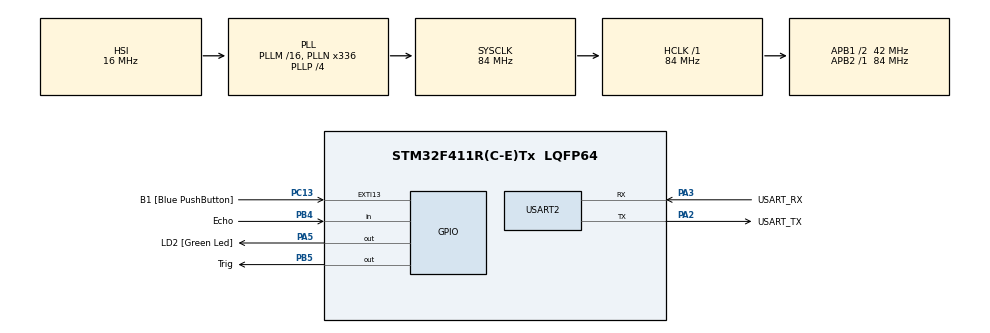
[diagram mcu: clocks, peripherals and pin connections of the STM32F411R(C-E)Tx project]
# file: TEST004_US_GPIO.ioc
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Mcu.Family=STM32F4
Mcu.Name=STM32F411R(C-E)Tx
Mcu.Package=LQFP64
NVIC.PriorityGroup=NVIC_PRIORITYGROUP_0
PA13.GPIO_Label=TMS
PA13.Mode=Serial_Wire
PA13.Signal=SYS_JTMS-SWDIO
PA14.GPIO_Label=TCK
PA14.Mode=Serial_Wire
PA14.Signal=SYS_JTCK-SWCLK
PA2.GPIO_Label=USART_TX
PA2.Mode=Asynchronous
PA2.Signal=USART2_TX
PA3.GPIO_Label=USART_RX
PA3.Mode=Asynchronous
PA3.Signal=USART2_RX
PA5.GPIO_Label=LD2 [Green Led]
PA5.Signal=GPIO_Output
PB3.GPIO_Label=SWO
PB3.Signal=SYS_JTDO-SWO
PB4.GPIO_Label=Echo
PB4.Signal=GPIO_Input
PB5.GPIO_Label=Trig
PB5.Signal=GPIO_Output
PC13-ANTI_TAMP.GPIO_Label=B1 [Blue PushButton]
PC13-ANTI_TAMP.GPIO_ModeDefaultEXTI=GPIO_MODE_IT_FALLING
PC13-ANTI_TAMP.Signal=GPXTI13
PC14-OSC32_IN.Mode=LSE-External-Oscillator
PC14-OSC32_IN.Signal=RCC_OSC32_IN
PC15-OSC32_OUT.Mode=LSE-External-Oscillator
PC15-OSC32_OUT.Signal=RCC_OSC32_OUT
PH0\ -\ OSC_IN.Mode=HSE-External-Clock-Source
PH0\ -\ OSC_IN.Signal=RCC_OSC_IN
PH1\ -\ OSC_OUT.Mode=HSE-External-Clock-Source
PH1\ -\ OSC_OUT.Signal=RCC_OSC_OUT
ProjectManager.HeapSize=0x200
ProjectManager.StackSize=0x400
ProjectManager.TargetToolchain=STM32CubeIDE
RCC.48MHZClocksFreq_Value=84000000
RCC.AHBFreq_Value=84000000
RCC.APB1CLKDivider=RCC_HCLK_DIV2
RCC.APB1Freq_Value=42000000
RCC.APB1TimFreq_Value=84000000
RCC.APB2Freq_Value=84000000
RCC.APB2TimFreq_Value=84000000
RCC.CortexFreq_Value=84000000
RCC.FLatency-AdvancedSettings=FLASH_LATENCY_2
RCC.HCLKFreq_Value=84000000
RCC.HSE_VALUE=8000000
RCC.HSI_VALUE=16000000
RCC.PLLN=336
RCC.PLLP=RCC_PLLP_DIV4
RCC.SYSCLKFreq_VALUE=84000000
RCC.SYSCLKSource=RCC_SYSCLKSOURCE_PLLCLK
RCC.VCOOutputFreq_Value=336000000
TIM5.Prescaler=84-1
USART2.VirtualMode=VM_ASYNC
VP_TIM5_VS_ClockSourceINT.Mode=Internal
board=NUCLEO-F411RE

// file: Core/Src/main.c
/* USER CODE BEGIN Header */
/**
  ******************************************************************************
  * @file           : main.c
  * @brief          : Main program body
  ******************************************************************************
  * @attention
  *
  * Copyright (c) 2024 STMicroelectronics.
  * All rights reserved.
  *
  * This software is licensed under terms that can be found in the LICENSE file
  * in the root directory of this software component.
  * If no LICENSE file comes with this software, it is provided AS-IS.
  *
  ******************************************************************************
  */
/* USER CODE END Header */
#include "main.h"

TIM_HandleTypeDef htim5;

UART_HandleTypeDef huart2;

void SystemClock_Config(void);
static void MX_GPIO_Init(void);
static void MX_USART2_UART_Init(void);
static void MX_TIM5_Init(void);

/* USER CODE BEGIN 0 */
void microDelay(int us)
{
	//int t1 = htim5.Instance->CNT; //CNT = 1us
	/*while(1)
	{
		int tmp_us = htim5.Instance->CNT - t1; // elapsed time
		if(tmp_us > us) break;
	}*/
	/*while(1)
	{
		if((htim5.Instance->CNT - t1) < us);
	}*/
	htim5.Instance -> CNT = 0;
	while(htim5.Instance -> CNT  < us);

}

void Trigger()
{
	//Trigger Signal
	HAL_GPIO_WritePin(Trig_GPIO_Port, Trig_Pin, 1);
	microDelay(10); //Can't make 10us HAL_Delay
	HAL_GPIO_WritePin(Trig_GPIO_Port, Trig_Pin, 0);
	microDelay(20);
}

double Distance()
{
	Trigger();
	//Wait until Echo Rising Edge
	while(HAL_GPIO_ReadPin(Echo_GPIO_Port, Echo_Pin) != 1);
	int t1 = htim5.Instance->CNT;
	//Wait until Echo Falling Edge
	while(HAL_GPIO_ReadPin(Echo_GPIO_Port, Echo_Pin) != 0);
	int t2 = htim5.Instance->CNT;
	double dist = (t2 - t1) * (0.000170); // meter

	return dist;
}

/* USER CODE END 0 */

int main(void)
{

  /* MCU Configuration--------------------------------------------------------*/

  /* Reset of all peripherals, Initializes the Flash interface and the Systick. */
  HAL_Init();

  /* Configure the system clock */
  SystemClock_Config();

  /* Initialize all configured peripherals */
  MX_GPIO_Init();
  MX_USART2_UART_Init();
  MX_TIM5_Init();
  /* USER CODE BEGIN 2 */
  ProgramStart("UltraSonic_GPIO");
  HAL_TIM_Base_Start(&htim5); //Timer Start -> (address handle timer5)
  /* USER CODE END 2 */

  /* Infinite loop */
  /* USER CODE BEGIN WHILE */
  while (1)
  {

	  //Trigger Signal
	  /*HAL_GPIO_WritePin(Trig_GPIO_Port, Trig_Pin, 1);
	  microDelay(10); //Can't make 10us HAL_Delay
	  HAL_GPIO_WritePin(Trig_GPIO_Port, Trig_Pin, 0);
	  microDelay(20);*/
    /* USER CODE END WHILE */

    /* USER CODE BEGIN 3 */
	  //Wait until Echo Rising Edge
	  double d = Distance() * 100;
	  printf("\033[?251\n"); //cursor off
	  printf("\033[10;10HDistance : %.2f cm   ", d); //upper half
	  printf("\033[11;10HDistance : %.2f cm   \033[9;10H\n", d); //lower half
	  HAL_Delay(100);
  }
  /* USER CODE END 3 */
}

void SystemClock_Config(void)
{
  RCC_OscInitTypeDef RCC_OscInitStruct = {0};
  RCC_ClkInitTypeDef RCC_ClkInitStruct = {0};

  /** Configure the main internal regulator output voltage
  */
  __HAL_RCC_PWR_CLK_ENABLE();
  __HAL_PWR_VOLTAGESCALING_CONFIG(PWR_REGULATOR_VOLTAGE_SCALE1);

  /** Initializes the RCC Oscillators according to the specified parameters
  * in the RCC_OscInitTypeDef structure.
  */
  RCC_OscInitStruct.OscillatorType = RCC_OSCILLATORTYPE_HSI;
  RCC_OscInitStruct.HSIState = RCC_HSI_ON;
  RCC_OscInitStruct.HSICalibrationValue = RCC_HSICALIBRATION_DEFAULT;
  RCC_OscInitStruct.PLL.PLLState = RCC_PLL_ON;
  RCC_OscInitStruct.PLL.PLLSource = RCC_PLLSOURCE_HSI;
  RCC_OscInitStruct.PLL.PLLM = 16;
  RCC_OscInitStruct.PLL.PLLN = 336;
  RCC_OscInitStruct.PLL.PLLP = RCC_PLLP_DIV4;
  RCC_OscInitStruct.PLL.PLLQ = 4;
  if (HAL_RCC_OscConfig(&RCC_OscInitStruct) != HAL_OK)
  {
    Error_Handler();
  }

  /** Initializes the CPU, AHB and APB buses clocks
  */
  RCC_ClkInitStruct.ClockType = RCC_CLOCKTYPE_HCLK|RCC_CLOCKTYPE_SYSCLK
                              |RCC_CLOCKTYPE_PCLK1|RCC_CLOCKTYPE_PCLK2;
  RCC_ClkInitStruct.SYSCLKSource = RCC_SYSCLKSOURCE_PLLCLK;
  RCC_ClkInitStruct.AHBCLKDivider = RCC_SYSCLK_DIV1;
  RCC_ClkInitStruct.APB1CLKDivider = RCC_HCLK_DIV2;
  RCC_ClkInitStruct.APB2CLKDivider = RCC_HCLK_DIV1;

  if (HAL_RCC_ClockConfig(&RCC_ClkInitStruct, FLASH_LATENCY_2) != HAL_OK)
  {
    Error_Handler();
  }
}

static void MX_TIM5_Init(void)
{

  TIM_ClockConfigTypeDef sClockSourceConfig = {0};
  TIM_MasterConfigTypeDef sMasterConfig = {0};

  htim5.Instance = TIM5;
  htim5.Init.Prescaler = 84-1;
  htim5.Init.CounterMode = TIM_COUNTERMODE_UP;
  htim5.Init.Period = 4294967295;
  htim5.Init.ClockDivision = TIM_CLOCKDIVISION_DIV1;
  htim5.Init.AutoReloadPreload = TIM_AUTORELOAD_PRELOAD_DISABLE;
  if (HAL_TIM_Base_Init(&htim5) != HAL_OK)
  {
    Error_Handler();
  }
  sClockSourceConfig.ClockSource = TIM_CLOCKSOURCE_INTERNAL;
  if (HAL_TIM_ConfigClockSource(&htim5, &sClockSourceConfig) != HAL_OK)
  {
    Error_Handler();
  }
  sMasterConfig.MasterOutputTrigger = TIM_TRGO_RESET;
  sMasterConfig.MasterSlaveMode = TIM_MASTERSLAVEMODE_DISABLE;
  if (HAL_TIMEx_MasterConfigSynchronization(&htim5, &sMasterConfig) != HAL_OK)
  {
    Error_Handler();
  }

}

static void MX_USART2_UART_Init(void)
{

  huart2.Instance = USART2;
  huart2.Init.BaudRate = 115200;
  huart2.Init.WordLength = UART_WORDLENGTH_8B;
  huart2.Init.StopBits = UART_STOPBITS_1;
  huart2.Init.Parity = UART_PARITY_NONE;
  huart2.Init.Mode = UART_MODE_TX_RX;
  huart2.Init.HwFlowCtl = UART_HWCONTROL_NONE;
  huart2.Init.OverSampling = UART_OVERSAMPLING_16;
  if (HAL_UART_Init(&huart2) != HAL_OK)
  {
    Error_Handler();
  }

}

static void MX_GPIO_Init(void)
{
  GPIO_InitTypeDef GPIO_InitStruct = {0};

  /* GPIO Ports Clock Enable */
  __HAL_RCC_GPIOC_CLK_ENABLE();
  __HAL_RCC_GPIOH_CLK_ENABLE();
  __HAL_RCC_GPIOA_CLK_ENABLE();
  __HAL_RCC_GPIOB_CLK_ENABLE();

  /*Configure GPIO pin Output Level */
  HAL_GPIO_WritePin(LD2_GPIO_Port, LD2_Pin, GPIO_PIN_RESET);

  /*Configure GPIO pin Output Level */
  HAL_GPIO_WritePin(Trig_GPIO_Port, Trig_Pin, GPIO_PIN_RESET);

  /*Configure GPIO pin : B1_Pin */
  GPIO_InitStruct.Pin = B1_Pin;
  GPIO_InitStruct.Mode = GPIO_MODE_IT_FALLING;
  GPIO_InitStruct.Pull = GPIO_NOPULL;
  HAL_GPIO_Init(B1_GPIO_Port, &GPIO_InitStruct);

  /*Configure GPIO pin : LD2_Pin */
  GPIO_InitStruct.Pin = LD2_Pin;
  GPIO_InitStruct.Mode = GPIO_MODE_OUTPUT_PP;
  GPIO_InitStruct.Pull = GPIO_NOPULL;
  GPIO_InitStruct.Speed = GPIO_SPEED_FREQ_LOW;
  HAL_GPIO_Init(LD2_GPIO_Port, &GPIO_InitStruct);

  /*Configure GPIO pin : Echo_Pin */
  GPIO_InitStruct.Pin = Echo_Pin;
  GPIO_InitStruct.Mode = GPIO_MODE_INPUT;
  GPIO_InitStruct.Pull = GPIO_NOPULL;
  HAL_GPIO_Init(Echo_GPIO_Port, &GPIO_InitStruct);

  /*Configure GPIO pin : Trig_Pin */
  GPIO_InitStruct.Pin = Trig_Pin;
  GPIO_InitStruct.Mode = GPIO_MODE_OUTPUT_PP;
  GPIO_InitStruct.Pull = GPIO_NOPULL;
  GPIO_InitStruct.Speed = GPIO_SPEED_FREQ_LOW;
  HAL_GPIO_Init(Trig_GPIO_Port, &GPIO_InitStruct);

}

void Error_Handler(void)
{
  __disable_irq();
  while (1)
  {
  }
}
